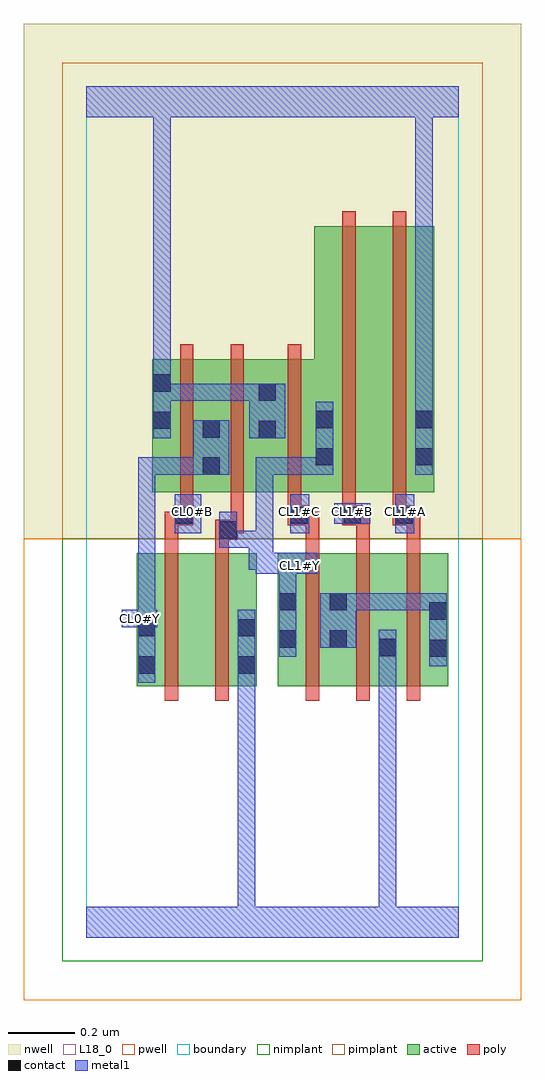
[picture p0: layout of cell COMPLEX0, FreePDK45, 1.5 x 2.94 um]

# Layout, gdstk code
import gdstk
lib = gdstk.Library(unit=1e-6, precision=1e-09)
def R(c, l, rs):  # rectangles x0, y0, x1, y1
    for r in rs: c.add(gdstk.rectangle(r[:2], r[2:], *l))
def A(c, l, x, y, w, h, nx, ny, dx, dy):  # array of equal rectangles
    R(c, l, [(x+i*dx, y+j*dy, x+i*dx+w, y+j*dy+h) for i in range(nx) for j in range(ny)])
active = (1, 0)
pwell = (2, 0)
nwell = (3, 0)
nimplant = (4, 0)
pimplant = (5, 0)
poly = (9, 0)
contact = (10, 0)
metal1 = (11, 0)
L18_0 = (18, 0)
boundary = (235, 0)

complex0 = lib.new_cell('COMPLEX0')
R(complex0, active, [(0.152,0.756,0.212,1.156), (0.152,0.756,0.332,1.156), (0.332,0.756,0.512,1.156), (0.452,0.756,0.512,1.156), (0.576,0.756,0.636,1.156), (0.576,0.756,0.788,1.156), (0.728,0.756,0.788,1.156), (0.728,0.756,0.936,1.156), (0.876,0.756,0.936,1.156), (0.876,0.756,1.088,1.156), (1.028,0.756,1.088,1.156), (0.198,1.34,0.258,1.74), (0.198,1.34,0.406,1.74), (0.346,1.34,0.574,1.74), (0.514,1.34,0.746,1.74), (0.686,1.34,0.866,2.14), (0.866,1.34,1.046,2.14), (0.986,1.34,1.046,2.044), (0.346,1.388,0.406,1.734), (0.686,1.416,0.746,1.804), (0.514,1.498,0.574,1.712)])
R(complex0, pwell, [(-0.188,-0.188,1.308,1.2)])
R(complex0, nwell, [(-0.188,1.2,1.308,2.748)])
R(complex0, nimplant, [(-0.072,-0.072,1.192,1.2)])
R(complex0, pimplant, [(-0.072,1.2,1.192,2.632)])
A(complex0, poly, 0.66, 0.712, 0.04, 0.488, 3, 1, 0.152, 0)
A(complex0, poly, 0.66, 1.16, 0.04, 0.12, 3, 1, 0.152, 0)
R(complex0, poly, [(0.236,0.712,0.276,1.2), (0.388,0.712,0.428,1.2), (0.236,1.16,0.276,1.28), (0.388,1.16,0.428,1.236), (0.388,1.196,0.456,1.256), (0.416,1.216,0.456,1.256), (0.416,1.216,0.474,1.256), (0.434,1.216,0.474,1.336), (0.236,1.24,0.302,1.28), (0.262,1.24,0.302,1.28), (0.262,1.24,0.322,1.3), (0.606,1.24,0.67,1.3), (0.63,1.24,0.67,1.28), (0.63,1.24,0.7,1.28), (0.77,1.24,0.83,1.3), (0.79,1.24,0.83,1.28), (0.79,1.24,0.852,1.28), (0.922,1.24,0.986,1.3), (0.946,1.24,0.986,1.28), (0.946,1.24,1.004,1.28), (0.282,1.26,0.322,1.336), (0.606,1.26,0.646,1.336), (0.77,1.26,0.81,1.336), (0.922,1.26,0.962,1.336), (0.282,1.296,0.322,1.784), (0.434,1.296,0.474,1.784), (0.606,1.296,0.646,1.784), (0.77,1.296,0.81,2.184), (0.922,1.296,0.962,2.184)])
R(complex0, contact, [(0.156,0.794,0.208,0.846), (0.456,0.794,0.508,0.846), (1.032,0.844,1.084,0.896), (0.88,0.846,0.932,0.898), (0.58,0.872,0.632,0.924), (0.732,0.872,0.784,0.924), (0.156,0.906,0.208,0.958), (0.456,0.906,0.508,0.958), (1.032,0.956,1.084,1.008), (0.58,0.984,0.632,1.036), (0.732,0.984,0.784,1.036), (0.4,1.2,0.452,1.252), (0.266,1.244,0.318,1.296), (0.614,1.244,0.666,1.296), (0.774,1.244,0.826,1.296), (0.93,1.244,0.982,1.296), (0.35,1.392,0.402,1.444), (0.69,1.42,0.742,1.472), (0.99,1.42,1.042,1.472), (0.518,1.502,0.57,1.554), (0.35,1.504,0.402,1.556), (0.202,1.53,0.254,1.582), (0.69,1.532,0.742,1.584), (0.99,1.532,1.042,1.584), (0.518,1.614,0.57,1.666), (0.202,1.642,0.254,1.694)])
R(complex0, metal1, [(0,0,1.12,0.092), (0.456,0.04,0.508,0.092), (0.456,0.04,0.508,0.092), (0.456,0.04,0.508,0.818), (0.88,0.04,0.932,0.092), (0.88,0.04,0.932,0.092), (0.88,0.04,0.932,0.092), (0.88,0.04,0.932,0.092), (0.88,0.04,0.932,0.092), (0.88,0.04,0.932,0.092), (0.88,0.04,0.932,0.87), (0.156,0.766,0.208,0.986), (0.456,0.766,0.508,0.818), (0.456,0.766,0.508,0.818), (0.456,0.766,0.508,0.818), (0.456,0.766,0.508,0.818), (0.456,0.766,0.508,0.818), (0.456,0.766,0.508,0.818), (0.456,0.766,0.508,0.818), (0.456,0.766,0.508,0.818), (0.456,0.766,0.508,0.818), (0.456,0.766,0.508,0.818), (0.456,0.766,0.508,0.986), (1.032,0.816,1.084,1.036), (0.88,0.818,0.932,0.87), (0.88,0.818,0.932,0.87), (0.88,0.818,0.932,0.87), (0.88,0.818,0.932,0.87), (0.88,0.818,0.932,0.87), (0.88,0.818,0.932,0.87), (0.88,0.818,0.932,0.926), (0.58,0.844,0.632,1.064), (0.704,0.872,0.812,1.036), (0.106,0.934,0.214,0.986), (0.156,0.934,0.208,0.986), (0.156,0.934,0.208,0.986), (0.156,0.934,0.208,0.986), (0.156,0.934,0.208,1.444), (0.76,0.984,0.812,1.036), (0.76,0.984,0.812,1.036), (0.76,0.984,0.922,1.036), (0.87,0.984,0.922,1.036), (0.87,0.984,0.922,1.036), (0.87,0.984,0.922,1.036), (0.87,0.984,1.084,1.036), (0.58,1.012,0.632,1.146), (0.51,1.094,0.694,1.158), (0.488,1.106,0.562,1.158), (0.488,1.106,0.54,1.224), (0.51,1.106,0.562,1.444), (0.4,1.172,0.452,1.28), (0.4,1.172,0.54,1.224), (0.266,1.216,0.346,1.334), (0.614,1.216,0.67,1.334), (0.93,1.216,0.986,1.334), (0.746,1.244,0.854,1.306), (0.156,1.392,0.208,1.444), (0.156,1.392,0.208,1.444), (0.156,1.392,0.208,1.444), (0.156,1.392,0.374,1.444), (0.322,1.392,0.43,1.556), (0.51,1.392,0.562,1.444), (0.51,1.392,0.562,1.444), (0.51,1.392,0.562,1.444), (0.51,1.392,0.688,1.444), (0.636,1.392,0.688,1.444), (0.636,1.392,0.742,1.444), (0.69,1.392,0.742,1.612), (0.99,1.392,1.042,1.612), (0.202,1.502,0.254,1.722), (0.49,1.502,0.598,1.666), (0.99,1.56,1.042,2.52), (0.99,1.56,1.042,1.612), (0.99,1.56,1.042,1.612), (0.99,1.56,1.042,1.612), (0.99,1.56,1.042,1.612), (0.99,1.56,1.042,1.612), (0.99,1.56,1.042,1.612), (0.202,1.614,0.254,1.666), (0.202,1.614,0.254,1.666), (0.202,1.614,0.364,1.666), (0.312,1.614,0.364,1.666), (0.312,1.614,0.364,1.666), (0.312,1.614,0.364,1.666), (0.312,1.614,0.542,1.666), (0.202,1.67,0.254,1.722), (0.202,1.67,0.254,1.722), (0.202,1.67,0.254,1.722), (0.202,1.67,0.254,1.722), (0.202,1.67,0.254,1.722), (0.202,1.67,0.254,1.722), (0.202,1.67,0.254,1.722), (0.202,1.67,0.254,1.722), (0.202,1.67,0.254,1.722), (0.202,1.67,0.254,1.722), (0.202,1.67,0.254,2.52), (0,2.468,1.12,2.56), (0.202,2.468,0.254,2.52), (0.202,2.468,0.254,2.52), (0.202,2.468,0.254,2.52), (0.202,2.468,0.254,2.52), (0.202,2.468,0.254,2.52), (0.202,2.468,0.254,2.52), (0.99,2.468,1.042,2.52), (0.99,2.468,1.042,2.52)])
A(complex0, L18_0, 0.614, 1.254, 0.052, 0.052, 3, 1, 0.16, 0)
R(complex0, L18_0, [(0,0,1.12,0.092), (0.456,0.04,0.508,0.092), (0.456,0.04,0.508,0.092), (0.456,0.04,0.508,0.818), (0.88,0.04,0.932,0.092), (0.88,0.04,0.932,0.092), (0.88,0.04,0.932,0.092), (0.88,0.04,0.932,0.092), (0.88,0.04,0.932,0.092), (0.88,0.04,0.932,0.092), (0.88,0.04,0.932,0.87), (0.156,0.766,0.208,0.986), (0.456,0.766,0.508,0.986), (0.456,0.766,0.508,0.818), (0.456,0.766,0.508,0.818), (0.456,0.766,0.508,0.818), (0.456,0.766,0.508,0.818), (0.456,0.766,0.508,0.818), (0.456,0.766,0.508,0.818), (0.456,0.766,0.508,0.818), (0.456,0.766,0.508,0.818), (0.456,0.766,0.508,0.818), (0.456,0.766,0.508,0.818), (0.88,0.818,0.932,0.87), (0.88,0.818,0.932,0.87), (0.88,0.818,0.932,0.87), (0.88,0.818,0.932,0.87), (0.88,0.818,0.932,0.87), (0.88,0.818,0.932,0.87), (0.88,0.818,0.932,0.926), (0.58,0.844,0.632,1.064), (0.106,0.934,0.214,0.986), (0.134,0.934,0.186,0.986), (0.156,0.934,0.208,0.986), (0.156,0.934,0.208,0.986), (0.156,0.934,0.208,0.986), (0.156,0.934,0.208,1.444), (0.58,1.012,0.632,1.146), (0.51,1.094,0.694,1.158), (0.614,1.094,0.666,1.146), (0.488,1.106,0.54,1.224), (0.488,1.106,0.562,1.158), (0.51,1.106,0.562,1.444), (0.4,1.172,0.452,1.28), (0.4,1.172,0.54,1.224), (0.266,1.216,0.346,1.334), (0.614,1.216,0.67,1.334), (0.93,1.216,0.986,1.334), (0.746,1.244,0.854,1.306), (0.294,1.254,0.346,1.306), (0.156,1.392,0.208,1.444), (0.156,1.392,0.208,1.444), (0.156,1.392,0.208,1.444), (0.156,1.392,0.374,1.444), (0.322,1.392,0.43,1.556), (0.51,1.392,0.562,1.444), (0.51,1.392,0.562,1.444), (0.51,1.392,0.562,1.444), (0.51,1.392,0.688,1.444), (0.636,1.392,0.688,1.444), (0.636,1.392,0.742,1.444), (0.69,1.392,0.742,1.612), (0.99,1.392,1.042,1.612), (0.202,1.502,0.254,1.722), (0.49,1.502,0.598,1.666), (0.99,1.56,1.042,1.612), (0.99,1.56,1.042,1.612), (0.99,1.56,1.042,1.612), (0.99,1.56,1.042,1.612), (0.99,1.56,1.042,1.612), (0.99,1.56,1.042,1.612), (0.99,1.56,1.042,2.52), (0.202,1.614,0.254,1.666), (0.202,1.614,0.254,1.666), (0.202,1.614,0.364,1.666), (0.312,1.614,0.364,1.666), (0.312,1.614,0.364,1.666), (0.312,1.614,0.364,1.666), (0.312,1.614,0.542,1.666), (0.202,1.67,0.254,1.722), (0.202,1.67,0.254,1.722), (0.202,1.67,0.254,1.722), (0.202,1.67,0.254,1.722), (0.202,1.67,0.254,1.722), (0.202,1.67,0.254,1.722), (0.202,1.67,0.254,1.722), (0.202,1.67,0.254,1.722), (0.202,1.67,0.254,1.722), (0.202,1.67,0.254,1.722), (0.202,1.67,0.254,2.52), (0,2.468,1.12,2.56), (0.202,2.468,0.254,2.52), (0.202,2.468,0.254,2.52), (0.202,2.468,0.254,2.52), (0.202,2.468,0.254,2.52), (0.202,2.468,0.254,2.52), (0.202,2.468,0.254,2.52), (0.99,2.468,1.042,2.52), (0.99,2.468,1.042,2.52)])
R(complex0, boundary, [(0,0,1.12,2.56)])
complex0.add(gdstk.Label('CL0#B', (0.32,1.28), layer=11, texttype=0))
complex0.add(gdstk.Label('CL0#Y', (0.16,0.96), layer=11, texttype=0))
complex0.add(gdstk.Label('CL1#A', (0.96,1.28), layer=11, texttype=0))
complex0.add(gdstk.Label('CL1#B', (0.8,1.28), layer=11, texttype=0))
complex0.add(gdstk.Label('CL1#C', (0.64,1.28), layer=11, texttype=0))
complex0.add(gdstk.Label('CL1#Y', (0.64,1.12), layer=11, texttype=0))

lib.write_gds('COMPLEX0.gds')
